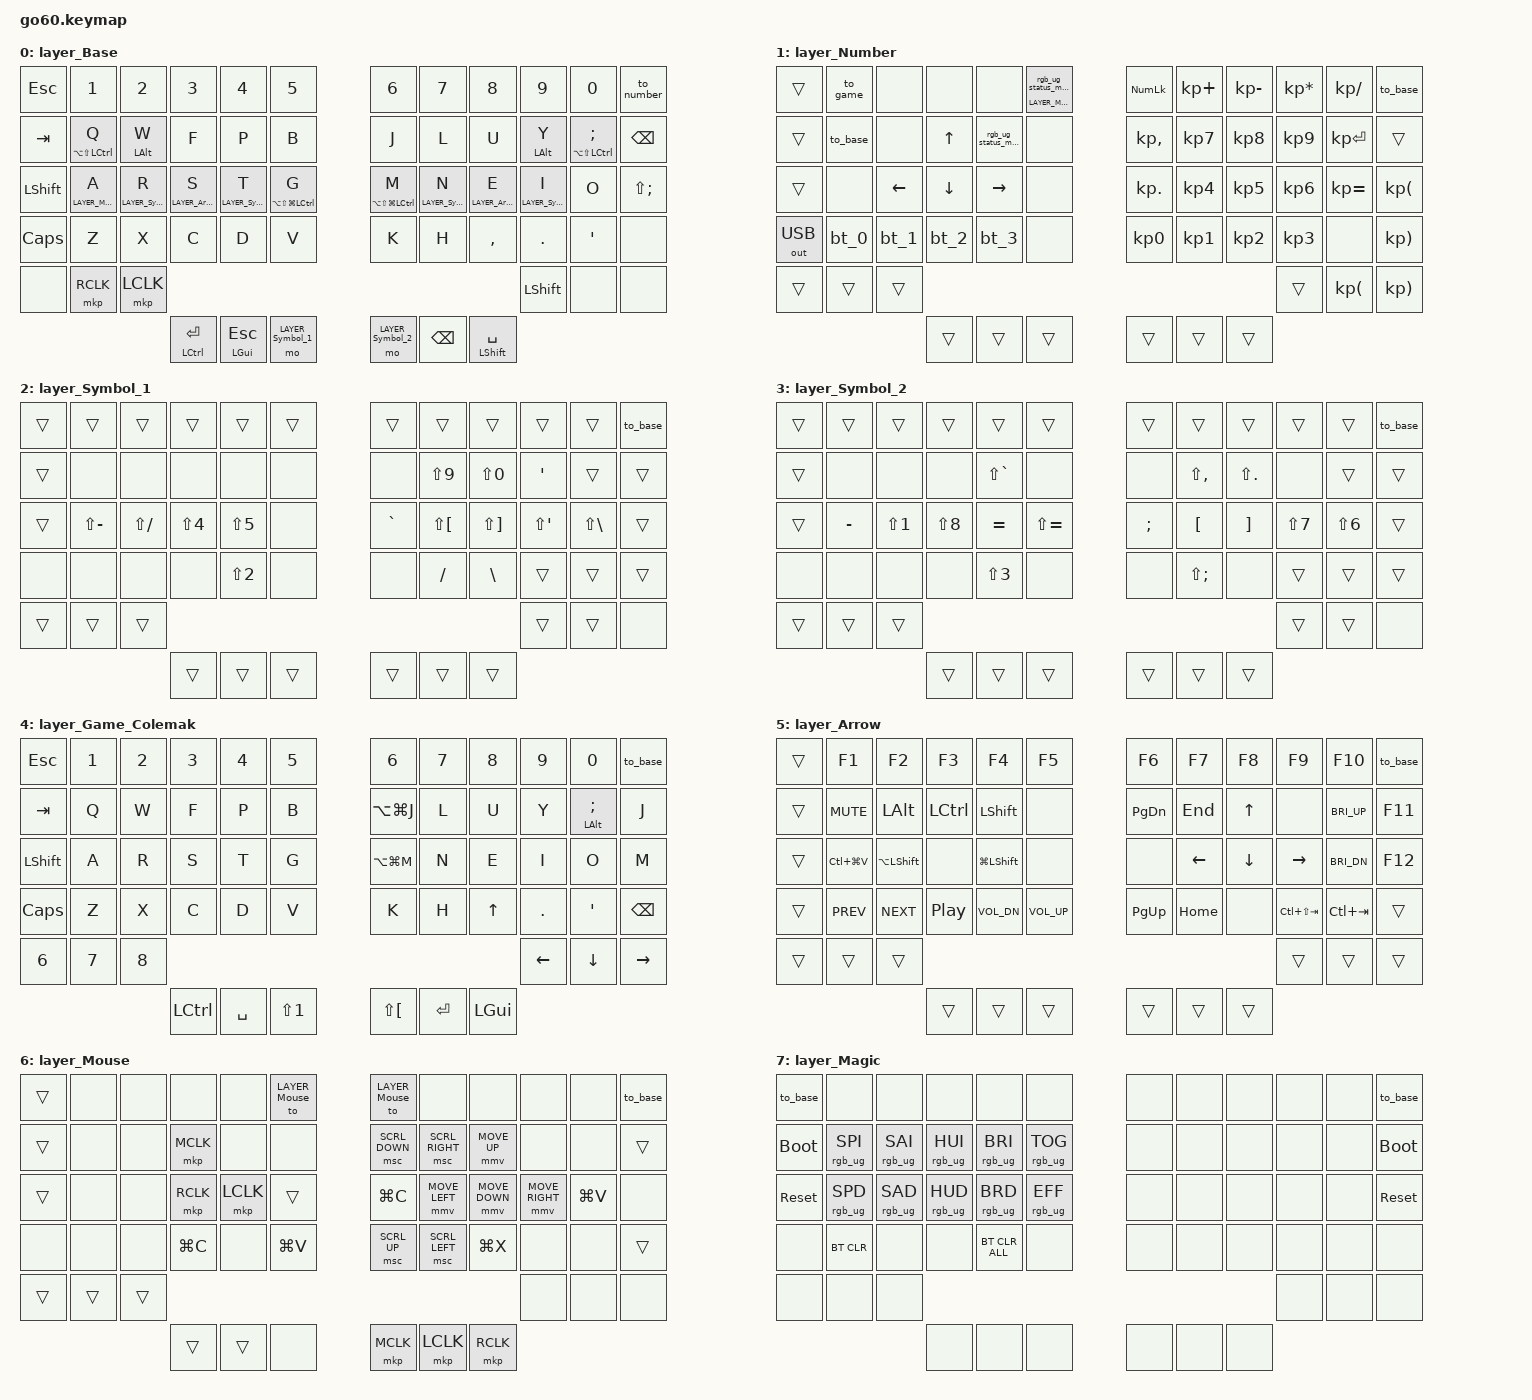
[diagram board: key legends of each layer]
/*
 * Copyright (c) 2020 The ZMK Contributors
 * Copyright (c) 2025 Innaworks Development Limited, trading as MoErgo
 *
 * SPDX-License-Identifier: MIT
 */


/* THIS FILE WAS GENERATED BY GO60 LAYOUT EDITOR
 *
 * This file was generated automatically. You may or may not want to
 * edit it directly.
 */

#include <behaviors.dtsi>

/* Include all behavior includes needed */

#include <dt-bindings/zmk/outputs.h>
#include <dt-bindings/zmk/keys.h>
#include <dt-bindings/zmk/bt.h>
#include <dt-bindings/zmk/rgb.h>

#include <input/processors.dtsi>
#include <dt-bindings/zmk/input_transform.h>
#include <zephyr/dt-bindings/input/input-event-codes.h>

/* On demand includes */
#include <dt-bindings/zmk/input_transform.h>
#include <dt-bindings/zmk/pointing.h>
#include <input/processors.dtsi>

/* Helper Macros, based on https://github.com/urob/zmk-helpers/ */
#define ZMK_POINTING_DEFAULT_SCRL_VAL 20    // default: 10


#pragma once

#define ZMK_HELPER_STRINGIFY(x) #x

// Preprocessor mechanism to overload macros, cf. https://stackoverflow.com/a/27051616/6114651
#define VARGS_(_10, _9, _8, _7, _6, _5, _4, _3, _2, _1, N, ...) N
#define VARGS(...) VARGS_(__VA_ARGS__, 10, 9, 8, 7, 6, 5, 4, 3, 2, 1, 0)
#define CONCAT_(a, b) a##b
#define CONCAT(a, b) CONCAT_(a, b)

#define ZMK_BEHAVIOR_CORE_tap_dance  \
    compatible = "zmk,behavior-tap-dance"; \
    #binding-cells = <0>

#define ZMK_BEHAVIOR(name, type, ...) \
    name: name { \
        ZMK_BEHAVIOR_CORE_ ## type; \
        __VA_ARGS__ \
    };

#define ZMK_TAP_DANCE(name, ...) \
    ZMK_BEHAVIOR(name, tap_dance, __VA_ARGS__)

#define ZMK_TD_LAYER(name, layer) \
    ZMK_TAP_DANCE(name, \
        tapping-term-ms = <200>; \
        bindings = <&mo layer>, <&to layer>; \
)





/* Key positions */

#define POS_LH_C6R1 0
#define POS_LH_C5R1 1
#define POS_LH_C4R1 2
#define POS_LH_C3R1 3
#define POS_LH_C2R1 4
#define POS_LH_C1R1 5
#define POS_RH_C1R1 6
#define POS_RH_C2R1 7
#define POS_RH_C3R1 8
#define POS_RH_C4R1 9
#define POS_RH_C5R1 10
#define POS_RH_C6R1 11
#define POS_LH_C6R2 12
#define POS_LH_C5R2 13
#define POS_LH_C4R2 14
#define POS_LH_C3R2 15
#define POS_LH_C2R2 16
#define POS_LH_C1R2 17
#define POS_RH_C1R2 18
#define POS_RH_C2R2 19
#define POS_RH_C3R2 20
#define POS_RH_C4R2 21
#define POS_RH_C5R2 22
#define POS_RH_C6R2 23
#define POS_LH_C6R3 24
#define POS_LH_C5R3 25
#define POS_LH_C4R3 26
#define POS_LH_C3R3 27
#define POS_LH_C2R3 28
#define POS_LH_C1R3 29
#define POS_RH_C1R3 30
#define POS_RH_C2R3 31
#define POS_RH_C3R3 32
#define POS_RH_C4R3 33
#define POS_RH_C5R3 34
#define POS_RH_C6R3 35
#define POS_LH_C6R4 36
#define POS_LH_C5R4 37
#define POS_LH_C4R4 38
#define POS_LH_C3R4 39
#define POS_LH_C2R4 40
#define POS_LH_C1R4 41
#define POS_RH_C1R4 42
#define POS_RH_C2R4 43
#define POS_RH_C3R4 44
#define POS_RH_C4R4 45
#define POS_RH_C5R4 46
#define POS_RH_C6R4 47
#define POS_LH_C4R5 48
#define POS_LH_C3R5 49
#define POS_LH_C2R5 50
#define POS_RH_C2R5 51
#define POS_RH_C3R5 52
#define POS_RH_C4R5 53
#define POS_LH_T1 54
#define POS_LH_T2 55
#define POS_LH_T3 56
#define POS_RH_T3 57
#define POS_RH_T2 58
#define POS_RH_T1 59


#define LEFT_HAND_KEYS \
  POS_LH_C1R1 POS_LH_C2R1 POS_LH_C3R1 POS_LH_C4R1 POS_LH_C5R1 POS_LH_C6R1 \
  POS_LH_C1R2 POS_LH_C2R2 POS_LH_C3R2 POS_LH_C4R2 POS_LH_C5R2 POS_LH_C6R2 \
  POS_LH_C1R3 POS_LH_C2R3 POS_LH_C3R3 POS_LH_C4R3 POS_LH_C5R3 POS_LH_C6R3 \
  POS_LH_C1R4 POS_LH_C2R4 POS_LH_C3R4 POS_LH_C4R4 POS_LH_C5R4 POS_LH_C6R4 \
              POS_LH_C2R5 POS_LH_C3R5 POS_LH_C4R5

#define RIGHT_HAND_KEYS \
  POS_RH_C1R1 POS_RH_C2R1 POS_RH_C3R1 POS_RH_C4R1 POS_RH_C5R1 POS_RH_C6R1 \
  POS_RH_C1R2 POS_RH_C2R2 POS_RH_C3R2 POS_RH_C4R2 POS_RH_C5R2 POS_RH_C6R2 \
  POS_RH_C1R3 POS_RH_C2R3 POS_RH_C3R3 POS_RH_C4R3 POS_RH_C5R3 POS_RH_C6R3 \
  POS_RH_C1R4 POS_RH_C2R4 POS_RH_C3R4 POS_RH_C4R4 POS_RH_C5R4 POS_RH_C6R4 \
              POS_RH_C2R5 POS_RH_C3R5 POS_RH_C4R5

#define THUMB_KEYS \
  POS_LH_T1 POS_LH_T2 POS_LH_T3 \
  POS_RH_T1 POS_RH_T2 POS_RH_T3

/* Environment and metadata defines */
#define KB_TYPE_GLOVE_80 1
#define KB_TYPE_GO_60    2

#define KB_TYPE          KB_TYPE_GO_60
#define EDITOR_HOST_OS   'M'

/* Automatically generated layer name defines */
#define LAYER_Base 0
#define LAYER_Number 1
#define LAYER_Symbol_1 2
#define LAYER_Symbol_2 3
#define LAYER_Game_Colemak 4
#define LAYER_Arrow 5
#define LAYER_Mouse 6
#define LAYER_Magic 7

/* To deal with the situation where there is no Lower layer, to keep &lower happy */
#ifndef LAYER_Lower
#define LAYER_Lower 0
#endif

/* Generated input processors */
/ {
    input_processors {
        zip_click_to_right_click_mapper: zip_click_to_right_click_mapper {
            compatible = "zmk,input-processor-code-mapper";
            #input-processor-cells = <0>;
            type = <INPUT_EV_KEY>;
            map = <INPUT_BTN_0 INPUT_BTN_1>;
        };
    };
};

/* Custom Device-tree */


/* Input Listeners */
&cirque_rh_listener {
    input-processors = <&zip_xy_scaler 9 2>;
};

&cirque_lh_listener {
    input-processors = <&zip_xy_scaler 8 13>, <&zip_xy_transform INPUT_TRANSFORM_Y_INVERT>, <&zip_xy_to_scroll_mapper>, <&zip_click_to_right_click_mapper>, <&zip_scroll_scaler 1 8>;
};

/* System behavior and macros */
/ {
    behaviors {
        ZMK_TD_LAYER(lower, LAYER_Lower)
    };
};

/* Per-layer underglow color macros */
/ {
    macros {
        rgb_base: rgb_base {
            compatible = "zmk,behavior-macro";
            #binding-cells = <0>;
            bindings = <&rgb_ug RGB_COLOR_HSB(0,0,10)>;
        };
        rgb_number: rgb_number {
            compatible = "zmk,behavior-macro";
            #binding-cells = <0>;
            bindings = <&rgb_ug RGB_COLOR_HSB(120,100,10)>;
        };
        rgb_game: rgb_game {
            compatible = "zmk,behavior-macro";
            #binding-cells = <0>;
            bindings = <&rgb_ug RGB_COLOR_HSB(180,100,10)>;
        };

        /* Layer switch + set color macros */
        to_number: to_number {
            compatible = "zmk,behavior-macro";
            #binding-cells = <0>;
            bindings = <&to LAYER_Number>, <&rgb_number>;
        };
        to_game: to_game {
            compatible = "zmk,behavior-macro";
            #binding-cells = <0>;
            bindings = <&to LAYER_Game_Colemak>, <&rgb_game>;
        };
        to_base: to_base {
            compatible = "zmk,behavior-macro";
            #binding-cells = <0>;
            bindings = <&to 0>, <&rgb_base>;
        };
    };
};

/ {
    macros {
        rgb_ug_status_macro: rgb_ug_status_macro {
            label = "RGB_UG_STATUS";
            compatible = "zmk,behavior-macro";
            #binding-cells = <0>;
            bindings
                = <&rgb_ug RGB_STATUS>;
        };
    };
};

/ {
#ifdef BT_DISC_CMD
    behaviors {
        bt_0: bt_0 {
            compatible = "zmk,behavior-tap-dance";
            label = "BT_0";
            #binding-cells = <0>;
            tapping-term-ms = <200>;
            bindings = <&bt_select_0>, <&bt BT_DISC 0>;
        };
        bt_1: bt_1 {
            compatible = "zmk,behavior-tap-dance";
            label = "BT_1";
            #binding-cells = <0>;
            tapping-term-ms = <200>;
            bindings = <&bt_select_1>, <&bt BT_DISC 1>;
        };
        bt_2: bt_2 {
            compatible = "zmk,behavior-tap-dance";
            label = "BT_2";
            #binding-cells = <0>;
            tapping-term-ms = <200>;
            bindings = <&bt_select_2>, <&bt BT_DISC 2>;
        };
        bt_3: bt_3 {
            compatible = "zmk,behavior-tap-dance";
            label = "BT_3";
            #binding-cells = <0>;
            tapping-term-ms = <200>;
            bindings = <&bt_select_3>, <&bt BT_DISC 3>;
        };
    };
    macros {
        bt_select_0: bt_select_0 {
            label = "BT_SELECT_0";
            compatible = "zmk,behavior-macro";
            #binding-cells = <0>;
            bindings
                = <&out OUT_BLE>,
                  <&bt BT_SEL 0>;
        };
        bt_select_1: bt_select_1 {
            label = "BT_SELECT_1";
            compatible = "zmk,behavior-macro";
            #binding-cells = <0>;
            bindings
                = <&out OUT_BLE>,
                  <&bt BT_SEL 1>;
        };
        bt_select_2: bt_select_2 {
            label = "BT_SELECT_2";
            compatible = "zmk,behavior-macro";
            #binding-cells = <0>;
            bindings
                = <&out OUT_BLE>,
                  <&bt BT_SEL 2>;
        };
        bt_select_3: bt_select_3 {
            label = "BT_SELECT_3";
            compatible = "zmk,behavior-macro";
            #binding-cells = <0>;
            bindings
                = <&out OUT_BLE>,
                  <&bt BT_SEL 3>;
        };
    };
#else
    macros {
        bt_0: bt_0 {
            label = "BT_0";
            compatible = "zmk,behavior-macro";
            #binding-cells = <0>;
            bindings
                = <&out OUT_BLE>,
                  <&bt BT_SEL 0>;
        };
        bt_1: bt_1 {
            label = "BT_1";
            compatible = "zmk,behavior-macro";
            #binding-cells = <0>;
            bindings
                = <&out OUT_BLE>,
                  <&bt BT_SEL 1>;
        };
        bt_2: bt_2 {
            label = "BT_2";
            compatible = "zmk,behavior-macro";
            #binding-cells = <0>;
            bindings
                = <&out OUT_BLE>,
                  <&bt BT_SEL 2>;
        };
        bt_3: bt_3 {
            label = "BT_3";
            compatible = "zmk,behavior-macro";
            #binding-cells = <0>;
            bindings
                = <&out OUT_BLE>,
                  <&bt BT_SEL 3>;
        };
    };
#endif
};

/ {
    behaviors {
        magic: magic {
            compatible = "zmk,behavior-hold-tap";
            label = "MAGIC_HOLD_TAP";
            #binding-cells = <2>;
            flavor = "tap-preferred";
            tapping-term-ms = <200>;
            bindings = <&mo>, <&rgb_ug_status_macro>;
        };
    };
};


/* Custom Defined Behaviors */
/ {

};

/* Automatically generated macro definitions */
/ {
    macros {

    };
};

/* Automatically generated behavior definitions */
/ {
    behaviors {


        // Tap Layer Hold
        TapLayerHold: TapLayerHold {
            compatible = "zmk,behavior-hold-tap";
            #binding-cells = <2>;
            tapping-term-ms = <200>;
            bindings = <&mo>, <&kp>;
            flavor = "balanced";
            require-prior-idle-ms = <125>;
        };

        // Balance mod tap
        BalancedModTap: BalancedModTap {
            compatible = "zmk,behavior-hold-tap";
            #binding-cells = <2>;
            tapping-term-ms = <200>;
            bindings = <&kp>, <&kp>;
            flavor = "balanced";
            require-prior-idle-ms = <150>;
        };

        // Tap Layer Hold for Left
        TapLayerHoldL: TapLayerHoldL {
            compatible = "zmk,behavior-hold-tap";
            #binding-cells = <2>;
            tapping-term-ms = <280>;
            bindings = <&mo>, <&kp>;
            flavor = "balanced";
            quick-tap-ms = <175>;
            require-prior-idle-ms = <125>;
            hold-trigger-on-release;
            hold-trigger-key-positions = <POS_RH_C1R1 POS_RH_C1R2 POS_RH_C1R3 POS_RH_C1R4 POS_RH_C2R4 POS_RH_C2R5 POS_RH_C4R5 POS_RH_C3R5 POS_RH_C3R4 POS_RH_C4R4 POS_RH_C5R4 POS_RH_C6R3 POS_RH_C5R3 POS_RH_C4R3 POS_RH_C2R3 POS_RH_C2R2 POS_RH_C3R2 POS_RH_C3R3 POS_RH_C4R2 POS_RH_C5R2 POS_RH_C6R2 POS_RH_C6R1 POS_RH_C5R1 POS_RH_C4R1 POS_RH_C3R1 POS_RH_C2R1 POS_RH_C6R4 POS_RH_T1 POS_RH_T2 POS_RH_T3>;
        };

        // Tap Layer Hold for Right
        TapLayerHoldR: TapLayerHoldR {
            compatible = "zmk,behavior-hold-tap";
            #binding-cells = <2>;
            tapping-term-ms = <280>;
            bindings = <&mo>, <&kp>;
            flavor = "balanced";
            quick-tap-ms = <175>;
            require-prior-idle-ms = <125>;
            hold-trigger-on-release;
            hold-trigger-key-positions = <POS_LH_T3 POS_LH_T2 POS_LH_T1 POS_LH_C2R5 POS_LH_C3R5 POS_LH_C4R5 POS_LH_C6R4 POS_LH_C5R4 POS_LH_C4R4 POS_LH_C3R4 POS_LH_C2R4 POS_LH_C1R4 POS_LH_C1R3 POS_LH_C2R3 POS_LH_C3R3 POS_LH_C4R3 POS_LH_C5R3 POS_LH_C6R3 POS_LH_C6R2 POS_LH_C5R2 POS_LH_C4R2 POS_LH_C3R2 POS_LH_C1R2 POS_LH_C2R2 POS_LH_C1R1 POS_LH_C2R1 POS_LH_C3R1 POS_LH_C4R1 POS_LH_C5R1 POS_LH_C6R1>;
        };

        // Balance mod tap
        SpaceModTap: SpaceModTap {
            compatible = "zmk,behavior-hold-tap";
            #binding-cells = <2>;
            tapping-term-ms = <200>;
            bindings = <&kp>, <&kp>;
            flavor = "balanced";
            require-prior-idle-ms = <100>;
        };
    };
};

/* Automatically generated combos definitions */


/* Automatically generated keymap */
/ {
    keymap {
        compatible = "zmk,keymap";


        layer_Base {
            bindings = <
   &kp ESC                           &kp N1                           &kp N2                       &kp N3                           &kp N4                               &kp N5                                                                                                                                        &kp N6                           &kp N7                       &kp N8                           &kp N9                              &kp N0  &to_number
   &kp TAB  &BalancedModTap LA(LS(LCTRL)) Q           &BalancedModTap LALT W                        &kp F                            &kp P                                &kp B                                                                                                                                         &kp J                            &kp L                        &kp U           &BalancedModTap LALT Y  &BalancedModTap LA(LS(LCTRL)) SEMI          &kp BSPC
 &kp LSHFT      &TapLayerHold LAYER_Mouse A  &TapLayerHoldL LAYER_Symbol_2 R  &TapLayerHold LAYER_Arrow S  &TapLayerHoldL LAYER_Symbol_1 T  &BalancedModTap LA(LS(LG(LCTRL))) G                                                                                                           &BalancedModTap LA(LS(LG(LCTRL))) M  &TapLayerHoldR LAYER_Symbol_1 N  &TapLayerHold LAYER_Arrow E  &TapLayerHoldR LAYER_Symbol_2 I                               &kp O      &kp LS(SEMI)
  &kp CAPS                            &kp Z                            &kp X                        &kp C                            &kp D                                &kp V                                                                                                                                         &kp K                            &kp H                    &kp COMMA                          &kp DOT                             &kp SQT             &none
                                                                       &none                    &mkp RCLK                        &mkp LCLK                                                                                                                                                                                                           &kp LSHFT                        &none                            &none
                                                                                                                                                                                 &mt LCTRL RET  &mt LGUI ESC  &mo LAYER_Symbol_1  &mo LAYER_Symbol_2  &kp BSPC  &SpaceModTap LSHFT SPACE
            >;
        };

        layer_Number {
            bindings = <
       &trans  &to_game     &none     &none      &none  &magic LAYER_Magic 0                                                    &kp KP_NUM  &kp KP_PLUS  &kp KP_MINUS  &kp KP_MULTIPLY  &kp KP_SLASH        &to_base
       &trans                   &to_base     &none    &kp UP      &rgb_ug_status_macro                 &none                                                  &kp KP_COMMA    &kp KP_N7     &kp KP_N8        &kp KP_N9  &kp KP_ENTER       &trans
       &trans                   &none  &kp LEFT  &kp DOWN  &kp RIGHT                 &none                                                    &kp KP_DOT    &kp KP_N4     &kp KP_N5        &kp KP_N6  &kp KP_EQUAL  &kp KP_LPAR
 &out OUT_USB                   &bt_0     &bt_1     &bt_2      &bt_3                 &none                                                     &kp KP_N0    &kp KP_N1     &kp KP_N2        &kp KP_N3         &none  &kp KP_RPAR
                                         &trans    &trans     &trans                                                                                           &trans   &kp KP_LPAR      &kp KP_RPAR
                                                                                            &trans  &trans  &trans  &trans  &trans  &trans
            >;
        };

        layer_Symbol_1 {
            bindings = <
 &trans         &trans        &trans      &trans      &trans  &trans                                                     &trans        &trans        &trans       &trans        &trans   &to_base
 &trans          &none         &none       &none       &none   &none                                                      &none    &kp LS(N9)    &kp LS(N0)      &kp SQT        &trans  &trans
 &trans  &kp LS(MINUS)  &kp LS(FSLH)  &kp LS(N4)  &kp LS(N5)   &none                                                  &kp GRAVE  &kp LS(LBKT)  &kp LS(RBKT)  &kp LS(SQT)  &kp LS(BSLH)  &trans
  &none          &none         &none       &none  &kp LS(N2)   &none                                                      &none      &kp FSLH      &kp BSLH       &trans        &trans  &trans
                              &trans      &trans      &trans                                                                           &trans        &trans        &none
                                                                      &trans  &trans  &trans  &trans  &trans  &trans
            >;
        };

        layer_Symbol_2 {
            bindings = <
 &trans     &trans      &trans      &trans         &trans         &trans                                                    &trans         &trans       &trans      &trans      &trans   &to_base
 &trans      &none       &none       &none  &kp LS(GRAVE)          &none                                                     &none  &kp LS(COMMA)  &kp LS(DOT)       &none      &trans  &trans
 &trans  &kp MINUS  &kp LS(N1)  &kp LS(N8)      &kp EQUAL  &kp LS(EQUAL)                                                  &kp SEMI       &kp LBKT     &kp RBKT  &kp LS(N7)  &kp LS(N6)  &trans
  &none      &none       &none       &none     &kp LS(N3)          &none                                                     &none   &kp LS(SEMI)        &none      &trans      &trans  &trans
                        &trans      &trans         &trans                                                                                  &trans       &trans       &none
                                                                          &trans  &trans  &trans  &trans  &trans  &trans
            >;
        };

        layer_Game_Colemak {
            bindings = <
   &kp ESC  &kp N1  &kp N2  &kp N3  &kp N4  &kp N5                                                                            &kp N6    &kp N7    &kp N8     &kp N9                     &kp N0     &to_base
   &kp TAB   &kp Q   &kp W   &kp F   &kp P   &kp B                                                                     &kp LA(LG(J))     &kp L     &kp U      &kp Y  &BalancedModTap LALT SEMI     &kp J
 &kp LSHFT   &kp A   &kp R   &kp S   &kp T   &kp G                                                                     &kp LA(LG(M))     &kp N     &kp E      &kp I                      &kp O     &kp M
  &kp CAPS   &kp Z   &kp X   &kp C   &kp D   &kp V                                                                             &kp K     &kp H    &kp UP    &kp DOT                    &kp SQT  &kp BSPC
                    &kp N6  &kp N7  &kp N8                                                                                            &kp LEFT  &kp DOWN  &kp RIGHT
                                                    &kp LCTRL  &kp SPACE  &kp LS(N1)  &kp LS(LBKT)  &kp RET  &kp LGUI
            >;
        };

        layer_Arrow {
            bindings = <
 &trans         &kp F1         &kp F2     &kp F3         &kp F4        &kp F5                                                     &kp F6    &kp F7    &kp F8           &kp F9       &kp F10    &to_base
 &trans     &kp C_MUTE       &kp LALT  &kp LCTRL      &kp LSHFT         &none                                                  &kp PG_DN   &kp END    &kp UP            &none  &kp C_BRI_UP  &kp F11
 &trans  &kp LC(LG(V))  &kp LA(LSHFT)      &none  &kp LG(LSHFT)         &none                                                      &none  &kp LEFT  &kp DOWN        &kp RIGHT  &kp C_BRI_DN  &kp F12
 &trans     &kp C_PREV     &kp C_NEXT   &kp C_PP   &kp C_VOL_DN  &kp C_VOL_UP                                                  &kp PG_UP  &kp HOME     &none  &kp LC(LS(TAB))   &kp LC(TAB)   &trans
                               &trans     &trans         &trans                                                                             &trans    &trans           &trans
                                                                               &trans  &trans  &trans  &trans  &trans  &trans
            >;
        };

        layer_Mouse {
            bindings = <
 &trans   &none   &none      &none      &none  &to LAYER_Mouse                                                           &to LAYER_Mouse            &none           &none            &none      &none   &to_base
 &trans   &none   &none  &mkp MCLK      &none            &none                                                            &msc SCRL_DOWN  &msc SCRL_RIGHT    &mmv MOVE_UP            &none      &none  &trans
 &trans   &none   &none  &mkp RCLK  &mkp LCLK           &trans                                                                 &kp LG(C)   &mmv MOVE_LEFT  &mmv MOVE_DOWN  &mmv MOVE_RIGHT  &kp LG(V)   &none
  &none   &none   &none  &kp LG(C)      &none        &kp LG(V)                                                              &msc SCRL_UP   &msc SCRL_LEFT       &kp LG(X)            &none      &none  &trans
                 &trans     &trans     &trans                                                                                                       &none           &none            &none
                                                                &trans  &trans   &none  &mkp MCLK  &mkp LCLK  &mkp RCLK
            >;
        };

        layer_Magic {
            bindings = <
       &to_base            &none            &none            &none            &none            &none                                                   &none   &none   &none   &none   &none        &to_base
 &bootloader  &rgb_ug RGB_SPI  &rgb_ug RGB_SAI  &rgb_ug RGB_HUI  &rgb_ug RGB_BRI  &rgb_ug RGB_TOG                                                   &none   &none   &none   &none   &none  &bootloader
  &sys_reset  &rgb_ug RGB_SPD  &rgb_ug RGB_SAD  &rgb_ug RGB_HUD  &rgb_ug RGB_BRD  &rgb_ug RGB_EFF                                                   &none   &none   &none   &none   &none   &sys_reset
       &none       &bt BT_CLR            &none            &none   &bt BT_CLR_ALL            &none                                                   &none   &none   &none   &none   &none        &none
                                         &none            &none            &none                                                                            &none   &none   &none
                                                                                                    &none   &none   &none   &none   &none   &none
            >;
        };

    };
};
